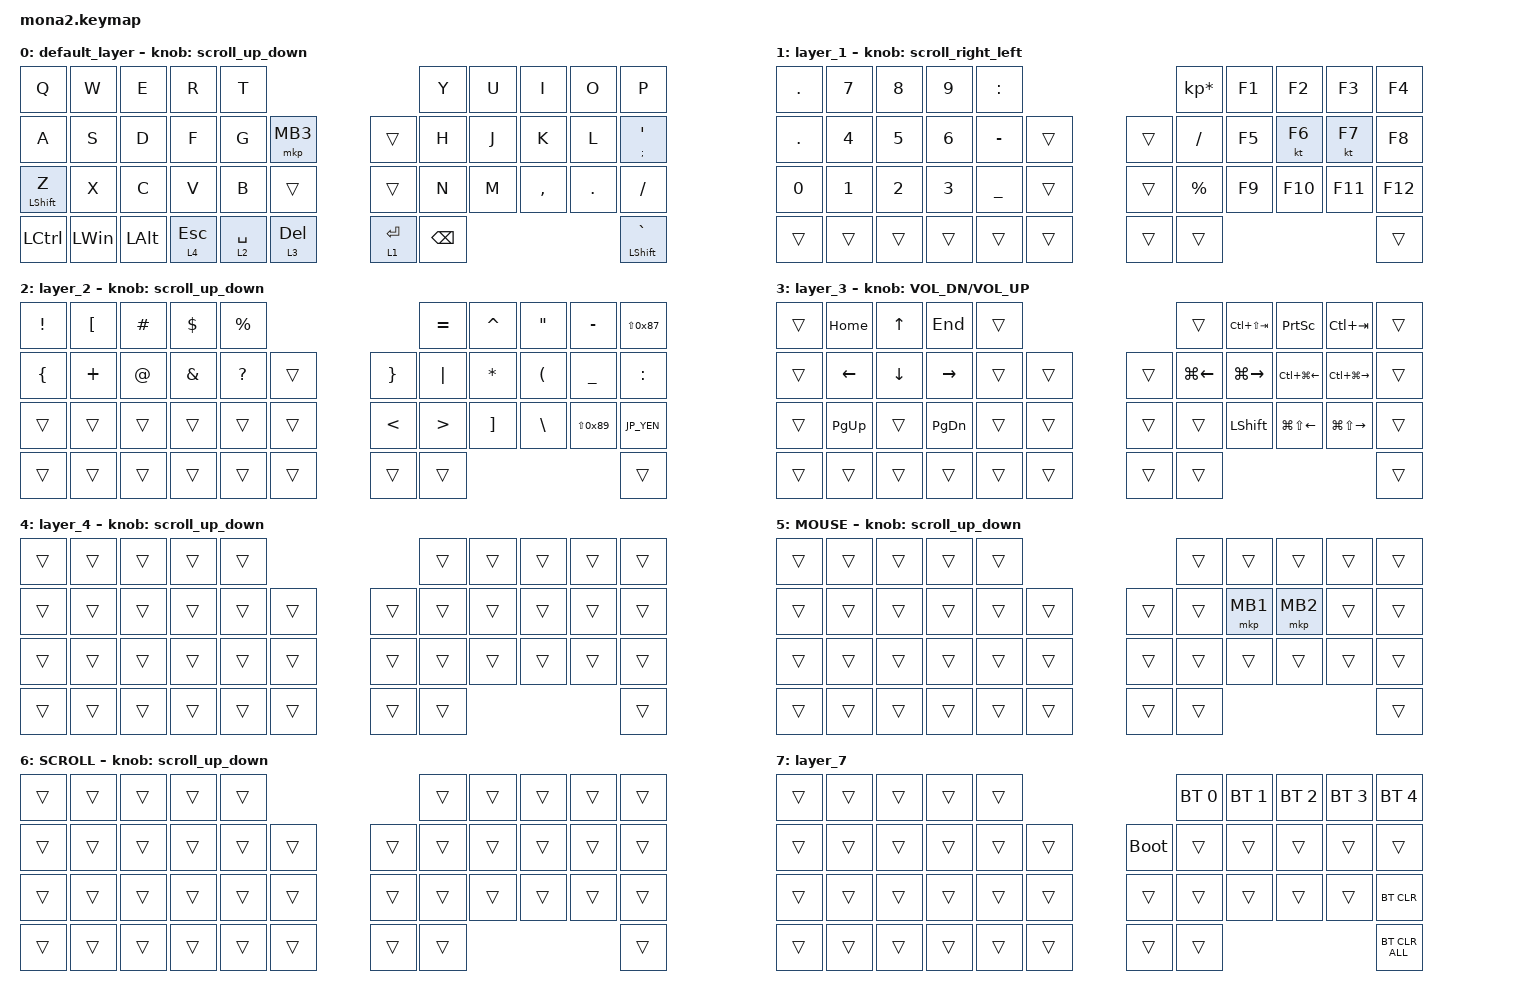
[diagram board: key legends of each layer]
// OS設定を日本語キーボードのまま使用するための変換定義

#define JP_DQUOTE       AT                // "
#define JP_MINUS        MINUS             // -
#define JP_AMPERSAND    CARET             // &
#define JP_QUOTE        AMPERSAND         // '
#define JP_EQUAL        UNDER             // =
#define JP_CARET        EQUAL             // ^
#define JP_YEN          0x89              // ¥
#define JP_PLUS         COLON             // +
#define JP_TILDE        PLUS              // ~
#define JP_PIPE         LS(0x89)          // |
#define JP_AT           LEFT_BRACKET      // @
#define JP_COLON        SINGLE_QUOTE      // :
#define JP_ASTERISK     DOUBLE_QUOTES     // *
#define JP_BACKQUOTE    LEFT_BRACE        // `
#define JP_UNDERSCORE   LS(0x87)          // _
#define JP_LBRACKET     RIGHT_BRACKET     // [
#define JP_RBRACKET     BACKSLASH         // ]
#define JP_LPAREN       ASTERISK          // (
#define JP_RPAREN       LEFT_PARENTHESIS  // )
#define JP_LBRACE       RIGHT_BRACE       // {
#define JP_RBRACE       PIPE              // }
#define JP_KANA         LANGUAGE_1        // かな
#define JP_EISU         LANGUAGE_2        // 英数
#define JP_HANZEN       GRAVE             // 半角/全角

#include <input/processors.dtsi>
#include <dt-bindings/zmk/input_transform.h>
#include <zephyr/dt-bindings/input/input-event-codes.h>
#include <behaviors.dtsi>
#include <dt-bindings/zmk/bt.h>
#include <dt-bindings/zmk/keys.h>
#include <dt-bindings/zmk/pointing.h>

#define ZMK_POINTING_DEFAULT_SCRL_VAL 100
#define MOUSE 5
#define SCROLL 6

&mt {
    flavor = "balanced";
    quick-tap-ms = <0>;
};

&lt {
    quick-tap-ms = <300>;
    flavor = "balanced";
};

/ {
    combos {
        compatible = "zmk,combos";

        layer4_ESC {
            bindings = <&lt 7 ESC>;
            key-positions = <39 40>;
        };

        tab {
            bindings = <&kp TAB>;
            key-positions = <11 12>;
        };
    };

    macros {
        to_layer_0: to_layer_0 {
            compatible = "zmk,behavior-macro-one-param";
            #binding-cells = <1>;
            bindings = <&to 0 &macro_param_1to1 &kp MACRO_PLACEHOLDER>;
            label = "TO_LAYER_0";
        };

        exit_AML: exit_AML {
            compatible = "zmk,behavior-macro";
            wait-ms = <0>;
            tap-ms = <0>;
            #binding-cells = <0>;
            bindings = <&tog_off MOUSE>;
            label = "exit_AML";
        };

        kp_exit_AML: kp_exit_AML {
            compatible = "zmk,behavior-macro-one-param";
            wait-ms = <0>;
            tap-ms = <0>;
            #binding-cells = <1>;
            bindings = <&macro_param_1to1 &kp MACRO_PLACEHOLDER &exit_AML>;
            label = "KP_exit_AML";
        };
    };

    behaviors {
        lt_to_layer_0: lt_to_layer_0 {
            compatible = "zmk,behavior-hold-tap";
            label = "LAYER_TAP_TO_0";
            bindings = <&mo>, <&to_layer_0>;

            #binding-cells = <2>;
            tapping-term-ms = <200>;
        };

        scroll_up_down: mouse_wheel_up_down {
            compatible = "zmk,behavior-sensor-rotate";
            #sensor-binding-cells = <0>;
            bindings = <&msc SCRL_DOWN>, <&msc SCRL_UP>;

            tap-ms = <20>;
        };

        scroll_right_left: mouse_wheel_right_left {
            compatible = "zmk,behavior-sensor-rotate";
            #sensor-binding-cells = <0>;
            bindings = <&msc SCRL_LEFT>, <&msc SCRL_RIGHT>;

            tap-ms = <20>;
        };

        tog_off: toggle_layer_off {
            compatible = "zmk,behavior-toggle-layer";
            #binding-cells = <1>;
            display-name = "Toggle Layer Off";
            toggle-mode = "off";
        };

        mt_exit_AML_on_tap: mt_exit_AML_on_tap {
            compatible = "zmk,behavior-hold-tap";
            label = "MT_exit_AML_ON_TAP";
            bindings = <&kp>, <&kp_exit_AML>;

            #binding-cells = <2>;
            tapping-term-ms = <200>;
            flavor = "balanced";
            quick-tap-ms = <200>;
        };
    };

    keymap {
        compatible = "zmk,keymap";

        default_layer {
            bindings = <
&kp Q             &kp W         &kp E         &kp R         &kp T                                     &kp Y          &kp U  &kp I      &kp O    &kp P
&kp A             &kp S         &kp D         &kp F         &kp G        &mkp MB3        &trans       &kp H          &kp J  &kp K      &kp L    &mt SEMICOLON JP_COLON
&mt LEFT_SHIFT Z  &kp X         &kp C         &kp V         &kp B        &trans          &trans       &kp N          &kp M  &kp COMMA  &kp DOT  &kp SLASH
&kp LCTRL         &kp LEFT_WIN  &kp LEFT_ALT  &lt 4 ESCAPE  &lt 2 SPACE  &lt 3 DELETE    &lt 1 ENTER  &kp BACKSPACE                             &mt LEFT_SHIFT JP_HANZEN
            >;

            sensor-bindings = <&scroll_up_down>;
        };

        layer_1 {
            bindings = <
&kp DOT       &kp NUMBER_7  &kp NUMBER_8  &kp NUMBER_9  &kp JP_PLUS                     &kp KP_MULTIPLY  &kp F1  &kp F2   &kp F3   &kp F4
&kp DOT       &kp NUMBER_4  &kp NUMBER_5  &kp NUMBER_6  &kp JP_MINUS  &trans    &trans  &kp SLASH        &kp F5  &kt F6   &kt F7   &kp F8
&kp NUMBER_0  &kp NUMBER_1  &kp NUMBER_2  &kp NUMBER_3  &kp JP_EQUAL  &trans    &trans  &kp PERCENT      &kp F9  &kp F10  &kp F11  &kp F12
&trans        &trans        &trans        &trans        &trans        &trans    &trans  &trans                                     &trans
            >;

            sensor-bindings = <&scroll_right_left>;
        };

        layer_2 {
            bindings = <
&kp EXCLAMATION   &kp JP_AT     &kp POUND      &kp DOLLAR    &kp PERCENT                            &kp JP_CARET   &kp JP_AMPERSAND  &kp JP_ASTERISK  &kp JP_MINUS  &kp JP_UNDERSCORE
&kp JP_BACKQUOTE  &kp JP_TILDE  &kp JP_DQUOTE  &kp JP_QUOTE  &kp QUESTION  &trans    &kp JP_LBRACE  &kp JP_RBRACE  &kp JP_LPAREN     &kp JP_RPAREN    &kp JP_EQUAL  &kp JP_PLUS
&trans            &trans        &trans         &trans        &trans        &trans    &kp LT         &kp GT         &kp JP_LBRACKET   &kp JP_RBRACKET  &kp JP_PIPE   &kp JP_YEN
&trans            &trans        &trans         &trans        &trans        &trans    &trans         &trans                                                          &trans
            >;

            sensor-bindings = <&scroll_up_down>;
        };

        layer_3 {
            bindings = <
&trans  &kp HOME        &kp UP_ARROW    &kp END          &trans                    &trans              &kp LC(LS(TAB))      &kp PRINTSCREEN         &kp LC(TAB)              &trans
&trans  &kp LEFT_ARROW  &kp DOWN_ARROW  &kp RIGHT_ARROW  &trans  &trans    &trans  &kp LG(LEFT_ARROW)  &kp LG(RIGHT_ARROW)  &kp LC(LG(LEFT_ARROW))  &kp LC(LG(RIGHT_ARROW))  &trans
&trans  &kp PAGE_UP     &trans          &kp PAGE_DOWN    &trans  &trans    &trans  &trans              &kp LEFT_SHIFT       &kp LG(LS(LEFT_ARROW))  &kp LG(LS(RIGHT_ARROW))  &trans
&trans  &trans          &trans          &trans           &trans  &trans    &trans  &trans                                                                                    &trans
            >;

            sensor-bindings = <&inc_dec_kp C_VOL_DN C_VOL_UP>;
        };

        layer_4 {
            bindings = <
&trans  &trans  &trans  &trans  &trans                    &trans  &trans  &trans  &trans  &trans
&trans  &trans  &trans  &trans  &trans  &trans    &trans  &trans  &trans  &trans  &trans  &trans
&trans  &trans  &trans  &trans  &trans  &trans    &trans  &trans  &trans  &trans  &trans  &trans
&trans  &trans  &trans  &trans  &trans  &trans    &trans  &trans                          &trans
            >;

            sensor-bindings = <&scroll_up_down>;
        };

        MOUSE {
            bindings = <
&trans  &trans  &trans  &trans  &trans                    &trans  &trans    &trans    &trans  &trans
&trans  &trans  &trans  &trans  &trans  &trans    &trans  &trans  &mkp MB1  &mkp MB2  &trans  &trans
&trans  &trans  &trans  &trans  &trans  &trans    &trans  &trans  &trans    &trans    &trans  &trans
&trans  &trans  &trans  &trans  &trans  &trans    &trans  &trans                              &trans
            >;

            sensor-bindings = <&scroll_up_down>;
        };

        SCROLL {
            bindings = <
&trans  &trans  &trans  &trans  &trans                    &trans  &trans  &trans  &trans  &trans
&trans  &trans  &trans  &trans  &trans  &trans    &trans  &trans  &trans  &trans  &trans  &trans
&trans  &trans  &trans  &trans  &trans  &trans    &trans  &trans  &trans  &trans  &trans  &trans
&trans  &trans  &trans  &trans  &trans  &trans    &trans  &trans                          &trans
            >;

            sensor-bindings = <&scroll_up_down>;
        };

        layer_7 {
            bindings = <
&trans  &trans  &trans  &trans  &trans                         &bt BT_SEL 0  &bt BT_SEL 1  &bt BT_SEL 2  &bt BT_SEL 3  &bt BT_SEL 4
&trans  &trans  &trans  &trans  &trans  &trans    &bootloader  &trans        &trans        &trans        &trans        &trans
&trans  &trans  &trans  &trans  &trans  &trans    &trans       &trans        &trans        &trans        &trans        &bt BT_CLR
&trans  &trans  &trans  &trans  &trans  &trans    &trans       &trans                                                  &bt BT_CLR_ALL
            >;
        };
    };
};
